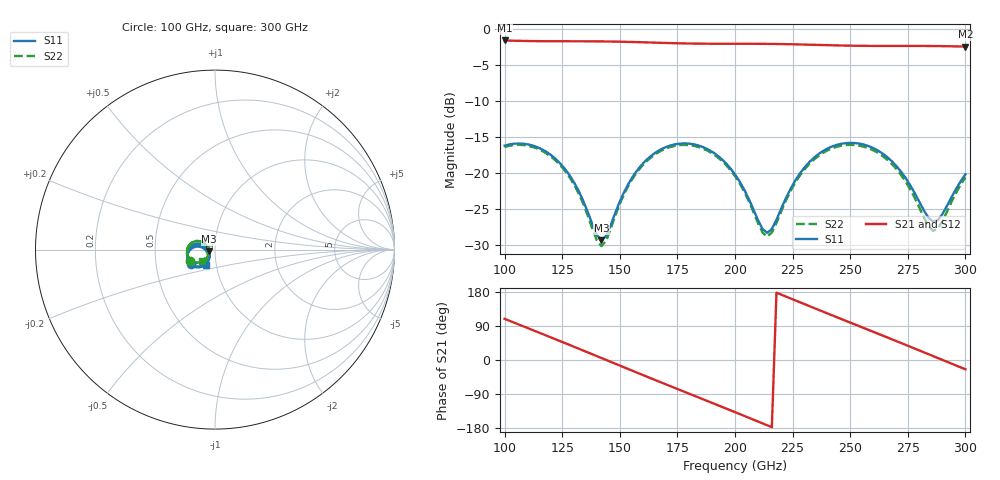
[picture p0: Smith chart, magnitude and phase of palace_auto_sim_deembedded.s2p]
! Created with skrf 1.11.0 (http://scikit-rf.org).
# GHz S DB R 50.0
!freq dBS11 angS11 dBS21 angS21 dBS12 angS12 dBS22 angS22
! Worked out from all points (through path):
!   101 points, 100 GHz to 300 GHz, reference 50 ohm
!   highest |S21| = -1.60 dB at 100 GHz (marker M1); lowest = -2.5 dB at 300 GHz (marker M2)
!   group delay of S21, straight-line fit = 6.85 ps
!   lowest |S11| = -29.3 dB at 142 GHz (marker M3), VSWR 1.07, Z = 46.8 - j0.926 ohm
!   |S11| at or under -10 dB: start of sweep to end of sweep
!   |S22| runs from -30.1 to -16.1 dB; largest |S21 - S12| = 1.4e-13
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100  -16.18 -149.0  -1.60 108.7  -1.60 108.7  -16.36 -156.0
108  -15.91 -165.2  -1.67 89.1  -1.67 89.1  -16.10 -172.7
116  -16.66 179.2  -1.70 69.6  -1.70 69.6  -16.86 171.0
126  -19.34 162.6  -1.72 45.1  -1.72 45.1  -19.59 153.3
134  -23.74 158.2  -1.72 25.3  -1.72 25.3  -24.13 147.8
142  -29.28 -163.3  -1.74 5.3  -1.74 5.3  -30.12 -171.9
156  -20.30 -123.6  -1.82 -29.7  -1.82 -29.7  -20.52 -132.4
168  -16.67 -142.0  -1.93 -59.3  -1.93 -59.3  -16.87 -152.1
176  -15.91 -156.8  -2.00 -78.9  -2.00 -78.9  -16.11 -167.7
184  -16.15 -171.7  -2.04 -98.4  -2.04 -98.4  -16.36 176.6
200  -20.17 164.0  -2.06 -137.6  -2.06 -137.6  -20.41 150.8
214  -28.27 -159.1  -2.08 -172.3  -2.08 -172.3  -28.79 -172.8
224  -22.23 -120.9  -2.13 162.7  -2.13 162.7  -22.52 -134.5
234  -17.93 -129.7  -2.21 138.0  -2.21 138.0  -18.19 -144.5
244  -16.09 -146.1  -2.29 113.4  -2.29 113.4  -16.35 -162.0
252  -15.82 -160.2  -2.33 93.9  -2.33 93.9  -16.10 -177.0
260  -16.52 -173.8  -2.36 74.4  -2.36 74.4  -16.83 168.4
268  -18.33 174.6  -2.36 54.9  -2.36 54.9  -18.70 155.7
278  -22.76 170.9  -2.36 30.2  -2.36 30.2  -23.42 150.1
286  -26.70 -159.1  -2.38 10.3  -2.38 10.3  -27.99 -177.5
290  -25.68 -136.1  -2.39 0.3  -2.39 0.3  -26.69 -151.6
300  -20.16 -122.3  -2.45 -24.5  -2.45 -24.5  -20.60 -139.3
